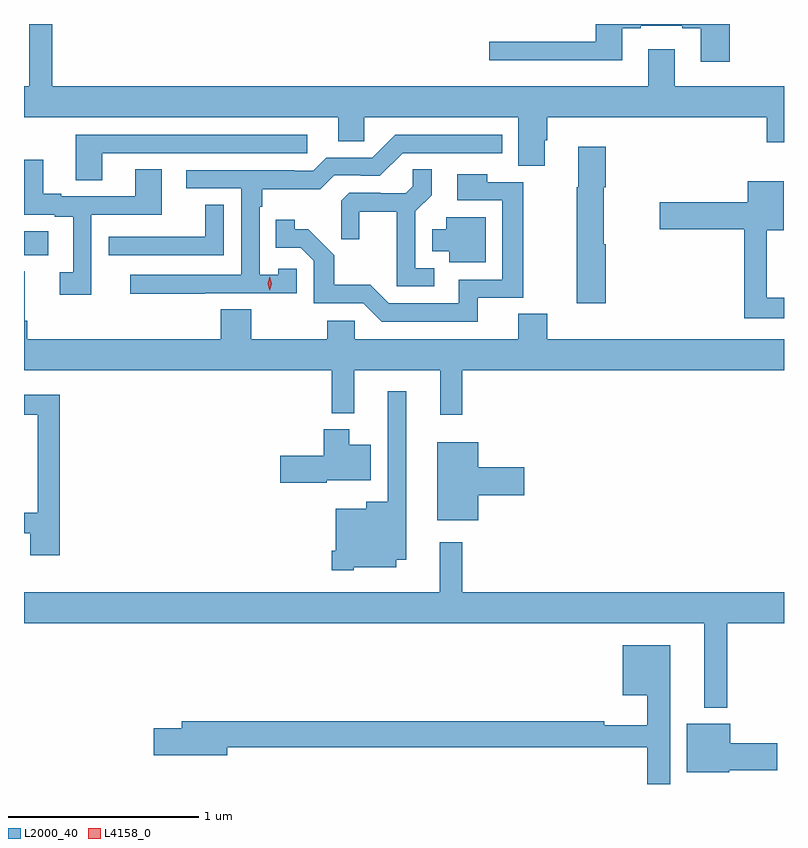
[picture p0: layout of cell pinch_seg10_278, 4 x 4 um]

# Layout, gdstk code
import gdstk
lib = gdstk.Library(unit=1e-6, precision=1e-09)
def R(c, l, rs):  # rectangles x0, y0, x1, y1
    for r in rs: c.add(gdstk.rectangle(r[:2], r[2:], *l))
def P(c, l, *ps):  # polygons
    for p in ps: c.add(gdstk.Polygon(p, *l))
L2000_40 = (2000, 40)
L4158_0 = (4158, 0)

pinch_seg10_278 = lib.new_cell('pinch_seg10_278')
R(pinch_seg10_278, L2000_40, [(491.882,1296.927,492.01,1297.051)])
P(pinch_seg10_278, L2000_40, [(494.623,1297.53),(494.636,1297.53),(494.636,1297.652),(495.791,1297.652),(495.791,1297.521),(495.882,1297.521),(495.882,1297.816),(495.307,1297.816),(495.307,1298.011),(495.167,1298.011),(495.167,1297.816),(492.031,1297.816),(492.031,1298.143),(491.909,1298.143),(491.909,1297.816),(491.882,1297.816),(491.882,1297.652),(493.535,1297.652),(493.535,1297.525),(493.674,1297.525),(493.674,1297.652),(494.483,1297.652),(494.483,1297.396),(494.623,1297.396)],
  [(495.596,1298.143),(494.891,1298.143),(494.891,1298.049),(494.331,1298.049),(494.331,1297.952),(495.031,1297.952),(495.031,1298.121),(495.127,1298.121),(495.127,1298.133),(495.347,1298.133),(495.347,1298.121),(495.443,1298.121),(495.443,1297.944),(495.596,1297.944)],
  [(492.833,1296.726),(493.317,1296.726),(493.317,1296.855),(493.221,1296.855),(493.221,1296.823),(493.122,1296.823),(493.122,1297.181),(493.135,1297.181),(493.135,1297.274),(493.442,1297.274),(493.515,1297.347),(493.654,1297.347),(493.654,1297.344),(493.755,1297.344),(493.875,1297.464),(494.398,1297.464),(494.398,1297.56),(493.836,1297.56),(493.716,1297.44),(493.473,1297.44),(493.404,1297.371),(493.304,1297.371),(493.304,1297.374),(492.735,1297.374),(492.735,1297.278),(493.026,1297.278),(493.026,1296.822),(492.441,1296.822),(492.441,1296.724),(492.833,1296.724)],
  [(492.295,1297.464),(493.372,1297.464),(493.372,1297.56),(492.155,1297.56),(492.155,1297.321),(492.295,1297.321)],
  [(494.945,1296.984),(494.932,1296.984),(494.932,1297.285),(494.945,1297.285),(494.945,1297.498),(494.798,1297.498),(494.798,1297.285),(494.791,1297.285),(494.791,1296.672),(494.945,1296.672)],
  [(492.237,1297.14),(492.607,1297.14),(492.607,1297.379),(492.467,1297.379),(492.467,1297.236),(492.079,1297.236),(492.079,1297.249),(491.983,1297.249),(491.983,1297.429),(491.882,1297.429),(491.882,1297.14),(492.044,1297.14),(492.044,1297.128),(492.14,1297.128),(492.14,1296.837),(492.069,1296.837),(492.069,1296.717),(492.237,1296.717)],
  [(494.041,1296.858),(493.941,1296.858),(493.941,1297.157),(494.027,1297.243),(494.027,1297.379),(493.929,1297.379),(493.929,1297.288),(493.892,1297.251),(493.758,1297.251),(493.758,1297.254),(493.593,1297.254),(493.552,1297.213),(493.552,1297.011),(493.646,1297.011),(493.646,1297.154),(493.844,1297.154),(493.844,1296.762),(494.041,1296.762)],
  [(494.27,1296.702),(494.509,1296.702),(494.509,1297.311),(494.319,1297.311),(494.319,1297.351),(494.163,1297.351),(494.163,1297.215),(494.4,1297.215),(494.4,1296.798),(494.171,1296.798),(494.171,1296.672),(493.803,1296.672),(493.705,1296.771),(493.516,1296.771),(493.516,1296.926),(493.378,1297.064),(493.308,1297.064),(493.308,1297.114),(493.207,1297.114),(493.207,1296.966),(493.338,1296.966),(493.407,1296.897),(493.407,1296.672),(493.668,1296.672),(493.764,1296.576),(494.27,1296.576)],
  [(495.882,1296.703),(495.791,1296.703),(495.791,1297.058),(495.88,1297.058),(495.88,1297.315),(495.692,1297.315),(495.692,1297.206),(495.228,1297.206),(495.228,1297.064),(495.673,1297.064),(495.673,1296.594),(495.882,1296.594)],
  [(492.933,1297.193),(492.835,1297.193),(492.835,1297.023),(492.439,1297.023),(492.439,1297.022),(492.327,1297.022),(492.327,1296.927),(492.933,1296.927)],
  [(494.311,1297.126),(494.105,1297.126),(494.105,1297.063),(494.03,1297.063),(494.03,1296.947),(494.12,1296.947),(494.12,1296.89),(494.311,1296.89)],
  [(493.477,1296.484),(493.077,1296.484),(493.077,1296.641),(492.917,1296.641),(492.917,1296.484),(491.9,1296.484),(491.9,1296.58),(491.887,1296.58),(491.887,1296.841),(491.882,1296.841),(491.882,1296.32),(493.501,1296.32),(493.501,1296.095),(493.619,1296.095),(493.619,1296.32),(494.072,1296.32),(494.072,1296.087),(494.189,1296.087),(494.189,1296.32),(495.882,1296.32),(495.882,1296.484),(494.636,1296.484),(494.636,1296.617),(494.483,1296.617),(494.483,1296.484),(493.623,1296.484),(493.623,1296.582),(493.477,1296.582)],
  [(493.617,1295.285),(493.84,1295.285),(493.84,1295.324),(493.894,1295.324),(493.894,1296.211),(493.797,1296.211),(493.797,1295.629),(493.682,1295.629),(493.682,1295.593),(493.523,1295.593),(493.523,1295.371),(493.502,1295.371),(493.502,1295.267),(493.617,1295.267)],
  [(492.071,1296.193),(491.883,1296.193),(491.883,1296.087),(491.955,1296.087),(491.955,1295.571),(491.882,1295.571),(491.882,1295.463),(491.915,1295.463),(491.915,1295.346),(492.071,1295.346)],
  [(493.476,1295.741),(493.708,1295.741),(493.708,1295.929),(493.594,1295.929),(493.594,1296.01),(493.46,1296.01),(493.46,1295.871),(493.23,1295.871),(493.23,1295.729),(493.476,1295.729)],
  [(494.272,1295.663),(494.515,1295.663),(494.515,1295.81),(494.272,1295.81),(494.272,1295.941),(494.057,1295.941),(494.057,1295.531),(494.272,1295.531)],
  [(495.583,1294.988),(495.882,1294.988),(495.882,1295.152),(494.189,1295.152),(494.189,1295.416),(494.071,1295.416),(494.071,1295.152),(491.882,1295.152),(491.882,1294.988),(495.461,1294.988),(495.461,1294.544),(495.583,1294.544)],
  [(495.283,1294.873),(495.032,1294.873),(495.032,1294.61),(495.162,1294.61),(495.162,1294.453),(494.936,1294.453),(494.936,1294.472),(492.713,1294.472),(492.713,1294.436),(492.564,1294.436),(492.564,1294.294),(492.952,1294.294),(492.952,1294.336),(495.162,1294.336),(495.162,1294.143),(495.283,1294.143)],
  [(495.594,1294.216),(495.847,1294.216),(495.847,1294.358),(495.598,1294.358),(495.598,1294.459),(495.371,1294.459),(495.371,1294.205),(495.594,1294.205)])
P(pinch_seg10_278, L4158_0, [(493.175,1296.741),(493.175,1296.741),(493.165,1296.777),(493.175,1296.813),(493.175,1296.813),(493.176,1296.813),(493.185,1296.777),(493.176,1296.741)])

lib.write_gds('pinch_seg10_278.gds')
